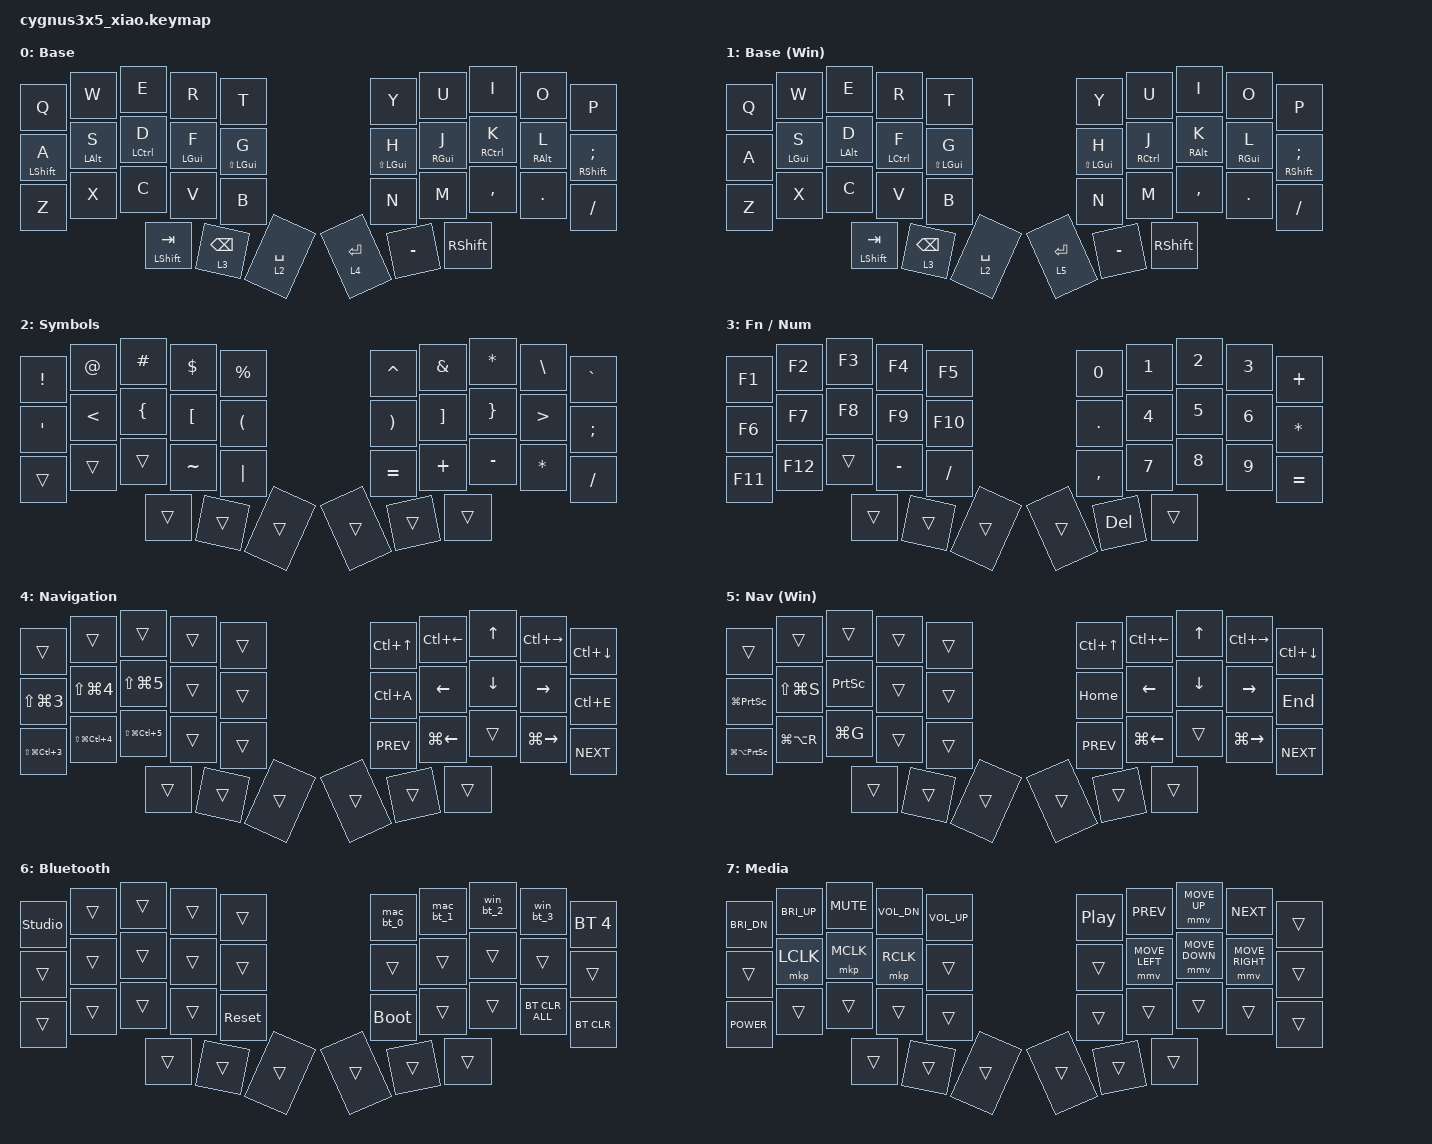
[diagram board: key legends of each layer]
/*
 * Copyright (c) 2020 The ZMK Contributors
 *
 * SPDX-License-Identifier: MIT
 */

/*
 * Cygnus 3x5 - keymap
 *
 * Based on the Cygnus 3x6 keymap (cygnus3x6_xiao branch) with the
 * outer column removed. Former outer-column keys:
 *   ESC          -> Z + X combo
 *   TAB          -> left thumb (already there)
 *   MINUS / '    -> O + P / DOT + SLASH combos (already there)
 *   GUI/CTRL/ALT -> home-row mods (already there)
 */
#include <behaviors.dtsi>
#include <dt-bindings/zmk/bt.h>
#include <dt-bindings/zmk/keys.h>
#include <dt-bindings/zmk/mouse.h>

/ {
    combos {
        compatible = "zmk,combos";

        /*
         * Left thumb TAB + right thumb SHIFT -> Layer 6 (Settings) while held
         *
         * Cygnus 3x5 positions:
         * TAB (left thumb)   = 30
         * SHIFT (right thumb) = 35
         */
        settings_layer {
            timeout-ms = <60>;
            key-positions = <30 35>;
            bindings = <&mo 6>;
        };

        /*
         * SPACE + ENTER simultaneously -> hold Layer 7 (Media)
         * Only on the Base layers (0 = Mac, 1 = Windows)
         */
        media_layer {
            timeout-ms = <60>;
            key-positions = <32 33>;
            bindings = <&mo 7>;
            layers = <0 1>;
        };

        /*
         * Z + X simultaneously -> ESC
         * (ESC lost its own key with the outer column)
         *
         * Cygnus 3x5 positions:
         * Z = 20, X = 21
         */
        esc_combo {
            timeout-ms = <60>;
            key-positions = <20 21>;
            bindings = <&kp ESC>;
        };

        /*
         * C + V simultaneously -> 英数 (LANG2)
         * M + COMMA simultaneously -> かな (LANG1)
         *
         * Cygnus 3x5 positions:
         * C = 22, V = 23
         * M = 26, COMMA = 27
         */
        eisu_combo {
            timeout-ms = <60>;
            key-positions = <22 23>;
            bindings = <&kp LANG2>;
        };

        kana_combo {
            timeout-ms = <60>;
            key-positions = <26 27>;
            bindings = <&kp LANG1>;
        };

        /*
         * O + P simultaneously -> MINUS (-)
         * DOT + SLASH simultaneously -> SINGLE_QUOTE (')
         * Only on the Base layers (0 = Mac, 1 = Windows)
         *
         * Cygnus 3x5 positions:
         * O = 8, P = 9
         * DOT = 28, SLASH = 29
         */
        hyphen_combo {
            timeout-ms = <60>;
            key-positions = <8 9>;
            bindings = <&kp MINUS>;
            layers = <0 1>;
        };

        quote_combo {
            timeout-ms = <60>;
            key-positions = <28 29>;
            bindings = <&kp SINGLE_QUOTE>;
            layers = <0 1>;
        };

        /*
         * B + T + O simultaneously -> bootloader
         * (same as double-pressing the reset button)
         *
         * Cygnus 3x5 positions:
         * T = 4
         * O = 8
         * B = 24
         */
        bootloader_combo {
            timeout-ms = <100>;
            key-positions = <4 8 24>;
            bindings = <&bootloader>;
        };
    };

    /*
     * Bluetooth profile + OS Base layer switch in one key press
     *
     * Profile 0, 1 -> Mac     (Layer 0)
     * Profile 2, 3 -> Windows (Layer 1)
     *
     * &to deactivates every layer except the default layer (0) and
     * activates the target, so it also cancels a stuck momentary layer.
     * Windows Base (1) must stay below Symbols/Num/Nav (2+): the highest
     * active layer wins, so temporary layers can only sit above it.
     */
    macros {
        mac_bt_0: mac_bt_0 {
            compatible = "zmk,behavior-macro";
            label = "MAC_BT_0";
            #binding-cells = <0>;
            bindings = <&macro_tap &bt BT_SEL 0 &to 0>;
        };

        mac_bt_1: mac_bt_1 {
            compatible = "zmk,behavior-macro";
            label = "MAC_BT_1";
            #binding-cells = <0>;
            bindings = <&macro_tap &bt BT_SEL 1 &to 0>;
        };

        win_bt_2: win_bt_2 {
            compatible = "zmk,behavior-macro";
            label = "WIN_BT_2";
            #binding-cells = <0>;
            bindings = <&macro_tap &bt BT_SEL 2 &to 1>;
        };

        win_bt_3: win_bt_3 {
            compatible = "zmk,behavior-macro";
            label = "WIN_BT_3";
            #binding-cells = <0>;
            bindings = <&macro_tap &bt BT_SEL 3 &to 1>;
        };
    };

    behaviors {
        /*
         * Home-row mods
         * Hold decision: 250 ms
         */

        hml: home_row_left {
            compatible = "zmk,behavior-hold-tap";
            label = "HOME_ROW_LEFT";
            #binding-cells = <2>;

            tapping-term-ms = <250>;
            quick-tap-ms = <175>;
            require-prior-idle-ms = <150>;
            flavor = "balanced";

            bindings = <&kp>, <&kp>;

            hold-trigger-key-positions =
                <5 6 7 8 9
                 15 16 17 18 19
                 25 26 27 28 29>;

            hold-trigger-on-release;
        };

        hmr: home_row_right {
            compatible = "zmk,behavior-hold-tap";
            label = "HOME_ROW_RIGHT";
            #binding-cells = <2>;

            tapping-term-ms = <250>;
            quick-tap-ms = <175>;
            require-prior-idle-ms = <150>;
            flavor = "balanced";

            bindings = <&kp>, <&kp>;

            hold-trigger-key-positions =
                <0 1 2 3 4
                 10 11 12 13 14
                 20 21 22 23 24>;

            hold-trigger-on-release;
        };

        /*
         * Modifier-tap
         * e.g. TAB/Shift, KANA/Shift
         */
        mt250: mod_tap_250 {
            compatible = "zmk,behavior-hold-tap";
            label = "MOD_TAP_250";
            #binding-cells = <2>;

            tapping-term-ms = <250>;
            quick-tap-ms = <175>;
            flavor = "balanced";

            bindings = <&kp>, <&kp>;
        };

        /*
         * Layer-tap
         *
         * arg1 = layer
         * arg2 = tap key
         */
        lt250: layer_tap_250 {
            compatible = "zmk,behavior-hold-tap";
            label = "LAYER_TAP_250";
            #binding-cells = <2>;

            tapping-term-ms = <250>;
            quick-tap-ms = <175>;
            flavor = "balanced";

            bindings = <&mo>, <&kp>;
        };
    };


    keymap {
        compatible = "zmk,keymap";


        /*
         * ==========================================================
         * Layer 0 - BASE (Mac)
         *
         * Selected by Bluetooth profile 0 / 1 (&mac_bt_0 / &mac_bt_1)
         * ==========================================================
         *
         * LEFT                          RIGHT
         *
         * Q     W   E   R   T      Y   U   I   O   P
         * A/SFT S   D   F   G      H   J   K   L   ;/SFT
         * Z     X   C   V   B      N   M   ,   .   /
         *
         * Z+X -> ESC combo
         * C+V -> 英数 (LANG2) combo, M+COMMA -> かな (LANG1) combo
         * O+P -> MINUS combo, DOT+SLASH -> SINGLE_QUOTE combo
         * G/H long-press -> GUI+SHIFT
         * A / ; long-press -> SHIFT
         * aerospace (macOS tiling WM) tuning: ALT <-> CONTROL swapped
         * on S/D and K/L vs. the stock layout
         *
         *       TAB/SFT BSPC/L3 SPACE/L2   ENTER/L4 -   RSHIFT
         */

        default_layer {
            display-name = "Base";

            bindings = <

&kp Q                 &kp W                 &kp E                &kp R                &kp T
&kp Y                 &kp U                 &kp I                &kp O                &kp P

&hml LEFT_SHIFT A     &hml LEFT_ALT S       &hml LEFT_CONTROL D  &hml LEFT_GUI F      &mt250 LS(LGUI) G
&mt250 LS(LGUI) H     &hmr RIGHT_GUI J      &hmr RIGHT_CONTROL K &hmr RIGHT_ALT L     &mt250 RIGHT_SHIFT SEMI

&kp Z                 &kp X                 &kp C                &kp V                &kp B
&kp N                 &kp M                 &kp COMMA            &kp DOT              &kp SLASH

                         &mt250 LEFT_SHIFT TAB
                         &lt250 3 BACKSPACE
                         &lt250 2 SPACE
                         &lt250 4 ENTER
                         &kp MINUS
                         &kp RIGHT_SHIFT
            >;
        };


        /*
         * ==========================================================
         * Layer 1 - BASE (Windows)
         *
         * Selected by Bluetooth profile 2 / 3 (&win_bt_2 / &win_bt_3)
         * Copy of Layer 0 with GUI <-> CTRL swapped on the home row.
         * LANG1 / LANG2 are kept as-is.
         *
         * Q     W   E   R   T      Y   U   I   O   P
         * A     GUI ALT CTRL G     H   CTRL ALT GUI ;/SFT
         * Z     X   C   V   B      N   M   ,   .   /
         *
         * Z+X -> ESC combo
         * C+V -> 英数 (LANG2) combo, M+COMMA -> かな (LANG1) combo
         * O+P -> MINUS combo, DOT+SLASH -> SINGLE_QUOTE combo
         * G/H long-press -> GUI+SHIFT
         * ; long-press -> SHIFT
         *
         *       TAB/SFT BSPC/L3 SPACE/L2   ENTER/L5 -   RSHIFT
         * ==========================================================
         */

        windows_layer {
            display-name = "Base (Win)";

            bindings = <

&kp Q                 &kp W                 &kp E                &kp R                &kp T
&kp Y                 &kp U                 &kp I                &kp O                &kp P

&kp A                 &hml LEFT_GUI S       &hml LEFT_ALT D      &hml LEFT_CONTROL F  &mt250 LS(LGUI) G
&mt250 LS(LGUI) H     &hmr RIGHT_CONTROL J  &hmr RIGHT_ALT K     &hmr RIGHT_GUI L     &mt250 RIGHT_SHIFT SEMI

&kp Z                 &kp X                 &kp C                &kp V                &kp B
&kp N                 &kp M                 &kp COMMA            &kp DOT              &kp SLASH

                         &mt250 LEFT_SHIFT TAB
                         &lt250 3 BACKSPACE
                         &lt250 2 SPACE
                         &lt250 5 ENTER
                         &kp MINUS
                         &kp RIGHT_SHIFT
            >;
        };


        /*
         * ==========================================================
         * Layer 2 - SYMBOL
         * Conductor L1 based
         * ==========================================================
         */

        symbol_layer {
            display-name = "Symbols";

            bindings = <

&kp EXCL              &kp AT                &kp HASH             &kp DLLR             &kp PRCNT
&kp CARET             &kp AMPS              &kp ASTRK            &kp BSLH             &kp GRAVE

&kp SINGLE_QUOTE      &kp LT                &kp LBRC             &kp LBKT             &kp LPAR
&kp RPAR              &kp RBKT              &kp RBRC             &kp GT               &kp SEMI

&trans                &trans                &trans               &kp TILDE            &kp PIPE
&kp EQUAL             &kp PLUS              &kp MINUS            &kp ASTRK            &kp SLASH

                         &trans
                         &trans
                         &trans
                         &trans
                         &trans
                         &trans
            >;
        };


        /*
         * ==========================================================
         * Layer 3 - FUNCTION / NUMPAD
         *
         * MINUS / SLASH (outer column on 3x6) moved to the free
         * slots at the bottom-left.
         * DELETE sits on the right thumb (same key that is MINUS on
         * the Base layers): hold BSPC/L3 + that key -> DELETE.
         * ==========================================================
         */

        function_layer {
            display-name = "Fn / Num";

            bindings = <

&kp F1                &kp F2                &kp F3               &kp F4               &kp F5
&kp N0                &kp N1                &kp N2               &kp N3               &kp PLUS

&kp F6                &kp F7                &kp F8               &kp F9               &kp F10
&kp DOT               &kp N4                &kp N5               &kp N6               &kp ASTRK

&kp F11               &kp F12               &trans               &kp MINUS            &kp SLASH
&kp COMMA             &kp N7                &kp N8               &kp N9               &kp EQUAL

                         &trans
                         &trans
                         &trans
                         &trans
                         &kp DELETE
                         &trans
            >;
        };


        /*
         * ==========================================================
         * Layer 4 - NAVIGATION / macOS
         *
         * Reached from Mac Base (Layer 0) via ENTER/L4
         * ==========================================================
         */

        navigation_layer {
            display-name = "Navigation";

            bindings = <

&trans                &trans                &trans               &trans               &trans
&kp LC(UP_ARROW)      &kp LC(LEFT_ARROW)    &kp UP_ARROW         &kp LC(RIGHT_ARROW)  &kp LC(DOWN_ARROW)

&kp LS(LG(N3))        &kp LS(LG(N4))        &kp LS(LG(N5))       &trans               &trans
&kp LC(A)             &kp LEFT_ARROW        &kp DOWN_ARROW       &kp RIGHT_ARROW      &kp LC(E)

&kp LS(LG(LC(N3)))    &kp LS(LG(LC(N4)))    &kp LS(LG(LC(N5)))   &trans               &trans
&kp C_PREV            &kp LG(LEFT_ARROW)    &trans               &kp LG(RIGHT_ARROW)  &kp C_NEXT

                         &trans
                         &trans
                         &trans
                         &trans
                         &trans
                         &trans
            >;
        };


        /*
         * ==========================================================
         * Layer 5 - NAVIGATION / Windows
         *
         * Reached from Windows Base (Layer 1) via ENTER/L5.
         * Same as the cygnus3x6_keymap_windows branch:
         * Row1: Win+PrtScn / Win+Shift+S / PrtScn
         * Row2: Win+Alt+PrtScn / Win+Alt+R / Win+G (Game Bar)
         * HOME/END replace the emacs-style Ctrl+A/Ctrl+E (Select All / Find on Windows).
         * ==========================================================
         */

        windows_navigation_layer {
            display-name = "Nav (Win)";

            bindings = <

&trans                &trans                &trans               &trans               &trans
&kp LC(UP_ARROW)      &kp LC(LEFT_ARROW)    &kp UP_ARROW         &kp LC(RIGHT_ARROW)  &kp LC(DOWN_ARROW)

&kp LG(PSCRN)         &kp LS(LG(S))         &kp PSCRN            &trans               &trans
&kp HOME              &kp LEFT_ARROW        &kp DOWN_ARROW       &kp RIGHT_ARROW      &kp END

&kp LG(LA(PSCRN))     &kp LG(LA(R))         &kp LG(G)            &trans               &trans
&kp C_PREV            &kp LG(LEFT_ARROW)    &trans               &kp LG(RIGHT_ARROW)  &kp C_NEXT

                         &trans
                         &trans
                         &trans
                         &trans
                         &trans
                         &trans
            >;
        };


        /*
         * ==========================================================
         * Layer 6 - SETTINGS / Bluetooth
         *
         * Left thumb TAB + right thumb SHIFT simultaneously -> hold Layer 6
         *
         * BT 0/1 -> Mac Base, BT 2/3 -> Windows Base (macros)
         * ==========================================================
         */

        settings_layer {
            display-name = "Bluetooth";

            bindings = <

&studio_unlock        &trans                &trans               &trans               &trans
&mac_bt_0             &mac_bt_1             &win_bt_2            &win_bt_3            &bt BT_SEL 4

&trans                &trans                &trans               &trans               &trans
&trans                &trans                &trans               &trans               &trans

&trans                &trans                &trans               &trans               &sys_reset
&bootloader           &trans                &trans               &bt BT_CLR_ALL       &bt BT_CLR

                         &trans
                         &trans
                         &trans
                         &trans
                         &trans
                         &trans
            >;
        };

        /*
         * ==========================================================
         * Layer 7 - MEDIA / Mouse
         *
         * SPACE + ENTER simultaneously -> hold Layer 7
         * POWER (outer column on 3x6) moved to the bottom-left.
         * ==========================================================
         */

        media_layer {
            display-name = "Media";

            bindings = <

&kp C_BRI_DN          &kp C_BRI_UP          &kp C_MUTE           &kp C_VOL_DN         &kp C_VOL_UP
&kp C_PLAY_PAUSE      &kp C_PREV            &mmv MOVE_UP         &kp C_NEXT           &trans

&trans                &mkp LCLK             &mkp MCLK            &mkp RCLK            &trans
&trans                &mmv MOVE_LEFT        &mmv MOVE_DOWN       &mmv MOVE_RIGHT      &trans

&kp C_POWER           &trans                &trans               &trans               &trans
&trans                &trans                &trans               &trans               &trans

                         &trans
                         &trans
                         &trans
                         &trans
                         &trans
                         &trans
            >;
        };
    };
};
